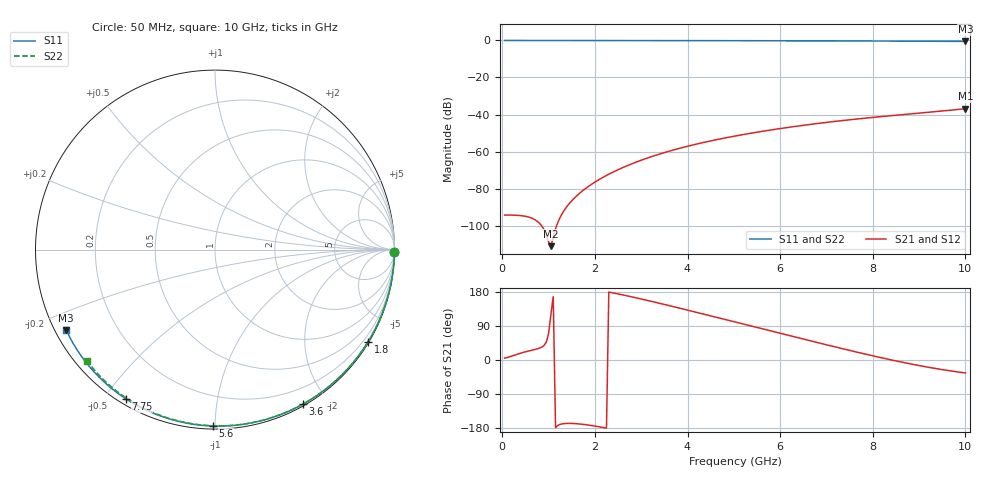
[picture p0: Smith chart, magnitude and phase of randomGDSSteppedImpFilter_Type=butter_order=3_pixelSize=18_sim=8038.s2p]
! freq	dB(S11)	phase(S11)	dB(S12)	phase(S12)
!  dB(S21)	phase(S21)	dB(S22)	phase(S22)
!S-par simulation data
#  GHz  S  DB  R 50
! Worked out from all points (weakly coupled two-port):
!   200 points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, 50 MHz to 10 GHz, reference 50 ohm
!   highest |S21| = -36.86 dB at 10 GHz (marker M1); lowest = -111.1 dB at 1.05 GHz (marker M2)
!   lowest |S11| = -0.5 dB at 10 GHz (marker M3), VSWR 33.74, Z = 1.58 - j12.6 ohm
!   |S11| at or under -10 dB: nowhere
!   |S22| runs from -0.5 to 0.0 dB; largest |S21 - S12| = 0
!   S11 on the Smith chart (normalised r, x): 50 MHz: open; 1.8 GHz: 0.03, -3.61; 3.6 GHz: 0.02, -1.72; 5.6 GHz: 0.02, -0.99; 7.75 GHz: 0.02, -0.57; 10 GHz: 0.03, -0.25
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0.05  -0.00 -0.9  -94.32 5.0  -94.32 5.0  -0.00 -0.8
0.55  -0.01 -9.6  -95.28 23.2  -95.28 23.2  -0.01 -8.8
1.05  -0.02 -18.2  -111.12 120.8  -111.12 120.8  -0.02 -16.7
1.75  -0.04 -30.1  -80.89 -169.9  -80.89 -169.9  -0.04 -27.7
1.8  -0.04 -31.0  -79.93 -170.7  -79.93 -170.7  -0.04 -28.4
1.95  -0.04 -33.5  -77.31 -173.3  -77.31 -173.3  -0.04 -30.7
2.1  -0.05 -36.0  -75.00 -176.3  -75.00 -176.3  -0.04 -33.1
2.3  -0.05 -39.3  -72.25 179.2  -72.25 179.2  -0.05 -36.1
2.5  -0.05 -42.6  -69.81 174.4  -69.81 174.4  -0.05 -39.2
2.9  -0.06 -49.2  -65.62 163.8  -65.62 163.8  -0.06 -45.2
3.4  -0.08 -57.2  -61.32 149.6  -61.32 149.6  -0.07 -52.6
3.6  -0.08 -60.4  -59.83 143.7  -59.83 143.7  -0.07 -55.5
4.3  -0.10 -71.3  -55.35 122.5  -55.35 122.5  -0.09 -65.6
5.05  -0.13 -82.6  -51.51 99.6  -51.51 99.6  -0.12 -76.0
5.6  -0.15 -90.6  -49.14 82.7  -49.14 82.7  -0.14 -83.5
6.15  -0.18 -98.6  -47.04 65.9  -47.04 65.9  -0.16 -90.8
6.7  -0.21 -106.3  -45.18 49.2  -45.18 49.2  -0.19 -97.9
7.2  -0.24 -113.3  -43.67 34.2  -43.67 34.2  -0.22 -104.3
7.75  -0.28 -120.8  -42.19 18.1  -42.19 18.1  -0.26 -111.2
8.35  -0.33 -129.0  -40.73 1.5  -40.73 1.5  -0.30 -118.6
9.2  -0.42 -140.6  -38.80 -19.1  -38.80 -19.1  -0.39 -129.1
10  -0.52 -151.6  -36.86 -34.2  -36.86 -34.2  -0.50 -139.0
